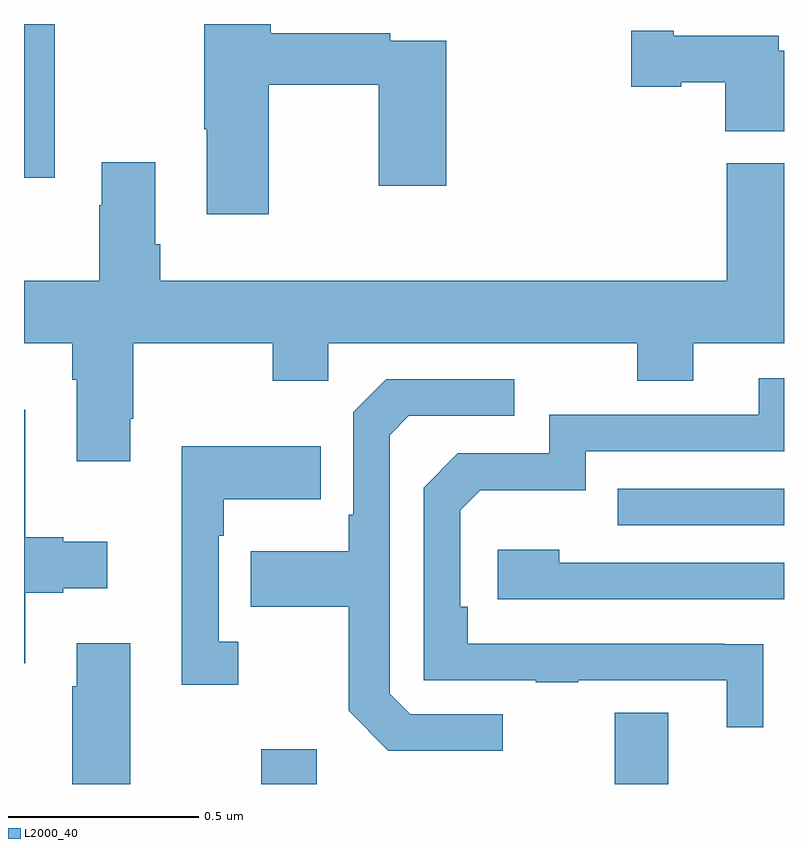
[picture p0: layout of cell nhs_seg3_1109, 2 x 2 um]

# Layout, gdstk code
import gdstk
lib = gdstk.Library(unit=1e-6, precision=1e-09)
def R(c, l, rs):  # rectangles x0, y0, x1, y1
    for r in rs: c.add(gdstk.rectangle(r[:2], r[2:], *l))
def P(c, l, *ps):  # polygons
    for p in ps: c.add(gdstk.Polygon(p, *l))
L2000_40 = (2000, 40)

nhs_seg3_1109 = lib.new_cell('nhs_seg3_1109')
R(nhs_seg3_1109, L2000_40, [(124.624,722.4,124.771,722.491), (125.555,722.4,125.695,722.587), (125.563,723.081,126,723.177), (124,723.995,124.081,724.4)])
P(nhs_seg3_1109, L2000_40, [(124.644,724.24),(124.933,724.24),(124.933,723.975),(125.111,723.975),(125.111,724.356),(124.964,724.356),(124.964,724.376),(124.649,724.376),(124.649,724.4),(124.474,724.4),(124.474,724.123),(124.481,724.123),(124.481,723.9),(124.644,723.9)],
  [(126,724.33),(125.986,724.33),(125.986,724.369),(125.71,724.369),(125.71,724.382),(125.598,724.382),(125.598,724.235),(125.73,724.235),(125.73,724.247),(125.846,724.247),(125.846,724.118),(126,724.118)],
  [(124.279,723.361),(124.287,723.361),(124.287,723.56),(124.654,723.56),(124.654,723.461),(124.8,723.461),(124.8,723.56),(125.614,723.56),(125.614,723.461),(125.761,723.461),(125.761,723.56),(126,723.56),(126,724.033),(125.849,724.033),(125.849,723.724),(124.358,723.724),(124.358,723.82),(124.345,723.82),(124.345,724.036),(124.205,724.036),(124.205,723.923),(124.198,723.923),(124.198,723.724),(124,723.724),(124,723.56),(124.127,723.56),(124.127,723.464),(124.139,723.464),(124.139,723.249),(124.279,723.249)],
  [(125.945,722.768),(125.843,722.768),(125.843,722.769),(125.168,722.769),(125.168,722.866),(125.148,722.866),(125.148,723.12),(125.201,723.173),(125.478,723.173),(125.478,723.276),(126,723.276),(126,723.468),(125.933,723.468),(125.933,723.372),(125.382,723.372),(125.382,723.27),(125.142,723.27),(125.052,723.18),(125.052,722.673),(125.347,722.673),(125.347,722.668),(125.459,722.668),(125.459,722.673),(125.849,722.673),(125.849,722.55),(125.945,722.55)],
  [(125.26,722.583),(125.016,722.583),(124.962,722.637),(124.962,723.318),(125.013,723.369),(125.29,723.369),(125.29,723.465),(124.953,723.465),(124.866,723.378),(124.866,723.109),(124.854,723.109),(124.854,723.013),(124.597,723.013),(124.597,722.866),(124.854,722.866),(124.854,722.593),(124.959,722.487),(125.26,722.487)],
  [(124.003,722.903),(124.103,722.903),(124.103,722.915),(124.219,722.915),(124.219,723.037),(124.103,723.037),(124.103,723.05),(124.003,723.05),(124.003,723.385),(124,723.385),(124,722.718),(124.003,722.718)],
  [(124.564,722.774),(124.512,722.774),(124.512,723.053),(124.525,723.053),(124.525,723.149),(124.781,723.149),(124.781,723.289),(124.415,723.289),(124.415,722.661),(124.564,722.661)],
  [(126,722.982),(125.408,722.982),(125.408,723.016),(125.247,723.016),(125.247,722.886),(126,722.886)],
  [(124.279,722.77),(124.139,722.77),(124.139,722.657),(124.127,722.657),(124.127,722.4),(124.279,722.4)])

lib.write_gds('nhs_seg3_1109.gds')
